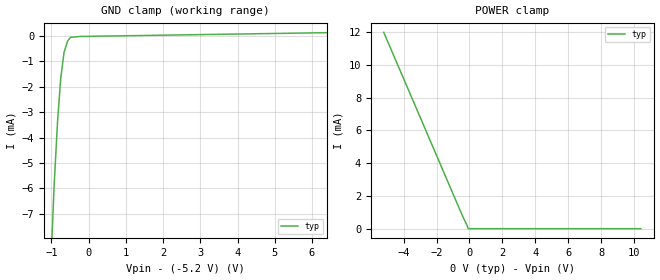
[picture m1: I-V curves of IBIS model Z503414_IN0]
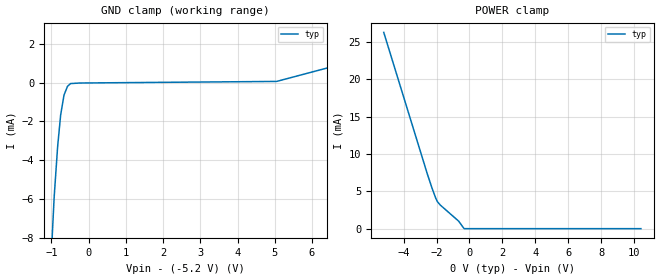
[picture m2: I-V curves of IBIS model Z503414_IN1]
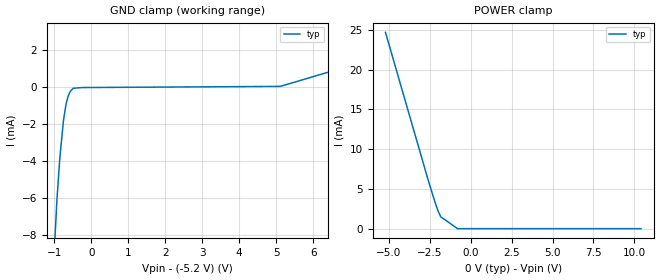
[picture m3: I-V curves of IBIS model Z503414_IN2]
| YOU ARE ONLY AUTHORIZED TO USE THIS SOFTWARE
| ACCORDING TO LICENSOR'S LICENSE RESTRICTIONS.
[IBIS Ver] 3.1
[File Name] mc10e167fn.ibs
[File Rev] 2.0
[Source] Measured and created by ICX Technology
[Date] Friday 7/14/00 9:07:49 AM
[Copyright]
| (C) COPYRIGHT 1993-2000
| MENTOR GRAPHICS CORPORATION
| ICX STANDARD LIBRARY, ICX PROJECT MODELING,
| ICX CUSTOM MODELING, ICX VENDOR MODEL
| ALL RIGHTS RESERVED.
| THE FOLLOWING ARE TRADEMARKS OR SERVICE MARKS OF
| MENTOR GRAPHICS CORPORATION:ICX (R), ICX STANDARD
| LIBRARY(R), ICX PROJECT MODELING(R), ICX CUSTOM
| MODELING(R), qualityIBIS(TM), MODELVIEWER(TM),
| AND MODELEDITOR(TM)
| ALL COPIES OF SOFTWARE, INCLUDING BUT NOT LIMITED TO
| ANY MODIFICATIONS, ENHANCEMENTS OR DERIVATIVE WORKS,
| MUST CONTAIN ALL MENTOR GRAPHICS CORPORATION'S
| NOTICES AND LEGENDS, INCLUDING THOSE EMBEDDED IN
| SOFTWARE AND THOSE AFFIXED TO SOFTWARE MEDIUM
| AND CONTAINER, AS RECEIVED FROM MENTOR GRAPHICS
| CORPORATION.
|  ZAP Model Builder 2.7
[Component] MC10E167FN
[Manufacturer] OnSemiconductor
[Package]
| variable   typ   min   max
R_pkg  .083ohms NA NA
L_pkg  4.299nH NA NA
C_pkg  1.045pF NA NA
[Pin] signal_name  model_name  R_pin  L_pin C_pin
1 VEE POWER .08 3.94n .925p
2 MR Z503414_IN0 .082 4.14n .995p
3 SEL Z503414_IN1 .084 4.354n 1.065p
4 D0A Z503414_IN2 .086 4.583n 1.135p
5 D0B Z503414_IN2 .086 4.583n 1.135p
6 D1A Z503414_IN2 .084 4.354n 1.065p
7 D1B Z503414_IN2 .082 4.14n .995p
8 D2A Z503414_IN2 .08 3.94n .925p
9 D2B Z503414_IN2 .082 4.14n .995p
10 VCCO POWER .084 4.354n 1.065p
11 Q0 Z503414_OUT0 .086 4.583n 1.135p
12 Q1 Z503414_OUT0 .086 4.583n 1.135p
13 VCCO POWER .084 4.354n 1.065p
14 Q2 Z503414_OUT0 .082 4.14n .995p
15 Q3 Z503414_OUT0 .08 3.94n .925p
16 VCC POWER .082 4.14n .995p
17 Q4 Z503414_OUT0 .084 4.354n 1.065p
18 Q5 Z503414_OUT0 .086 4.583n 1.135p
19 VCCO POWER .086 4.583n 1.135p
20 NC NC .084 4.354n 1.065p
21 D3A Z503414_IN2 .082 4.14n .995p
22 D3B Z503414_IN2 .08 3.94n .925p
23 D4A Z503414_IN2 .082 4.14n .995p
24 D4B Z503414_IN2 .084 4.354n 1.065p
25 D5A Z503414_IN2 .086 4.583n 1.135p
26 D5B Z503414_IN2 .086 4.583n 1.135p
27 CLK1 Z503414_IN3 .084 4.354n 1.065p
28 CLK2 Z503414_IN3 .082 4.14n .995p
| Models and submodels in the file (5): Z503414_IN0 (Input_ECL), Z503414_IN1 (Input_ECL), Z503414_IN2 (Input_ECL), Z503414_IN3 (Input_ECL), Z503414_OUT0 (Output_ECL)
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| (C) COPYRIGHT 1993-2000
| MENTOR GRAPHICS CORPORATION
| ICX STANDARD LIBRARY, ICX PROJECT MODELING,
| ICX CUSTOM MODELING, ICX VENDOR MODEL
| ALL RIGHTS RESERVED.
| THE FOLLOWING ARE TRADEMARKS OR SERVICE MARKS OF
| MENTOR GRAPHICS CORPORATION:ICX (R), ICX STANDARD
| LIBRARY(R), ICX PROJECT MODELING(R), ICX CUSTOM
| MODELING(R), qualityIBIS(TM), MODELVIEWER(TM),
| AND MODELEDITOR(TM)
| ALL COPIES OF SOFTWARE, INCLUDING BUT NOT LIMITED TO
| ANY MODIFICATIONS, ENHANCEMENTS OR DERIVATIVE WORKS,
| MUST CONTAIN ALL MENTOR GRAPHICS CORPORATION'S
| NOTICES AND LEGENDS, INCLUDING THOSE EMBEDDED IN
| SOFTWARE AND THOSE AFFIXED TO SOFTWARE MEDIUM
| AND CONTAINER, AS RECEIVED FROM MENTOR GRAPHICS
| CORPORATION.
| Model Application Version 1.89 2/18/99.
[Model] Z503414_IN0
Model_type Input_ECL
Vinl = -1.480V
Vinh = -1.130V
C_comp 4.000pF NA NA
| variable typ   min   max
[Voltage Range] -5.200V NA NA
[GND Clamp Reference] -5.200V NA NA
[POWER Clamp Reference] 0.000V NA NA
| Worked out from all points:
|   GND clamp passes 1 mA (typ) near -0.69 V on its own axis
[GND Clamp]
-5.2V     -208.9mA   NA         NA
-1.09V    -11.63mA   NA         NA
-929mV    -5.896mA   NA         NA
-835mV    -3.337mA   NA         NA
-753mV    -1.687mA   NA         NA
-662mV    -645.4uA   NA         NA
-568mV    -201.8uA   NA         NA
-488mV    -50.44uA   NA         NA
-244mV    -17.12uA   NA         NA
10.4V     223.2uA    NA         NA
[POWER Clamp]
-5.2V     11.99mA    NA         NA
-420mV    773.1uA    NA         NA
-148.9mV  205.8uA    NA         NA
-74.45mV  0A         NA         NA
10.4V     0A         NA         NA
| (C) COPYRIGHT 1993-2000
| MENTOR GRAPHICS CORPORATION
| ICX STANDARD LIBRARY, ICX PROJECT MODELING,
| ICX CUSTOM MODELING, ICX VENDOR MODEL
| ALL RIGHTS RESERVED.
| THE FOLLOWING ARE TRADEMARKS OR SERVICE MARKS OF
| MENTOR GRAPHICS CORPORATION:ICX (R), ICX STANDARD
| LIBRARY(R), ICX PROJECT MODELING(R), ICX CUSTOM
| MODELING(R), qualityIBIS(TM), MODELVIEWER(TM),
| AND MODELEDITOR(TM)
| ALL COPIES OF SOFTWARE, INCLUDING BUT NOT LIMITED TO
| ANY MODIFICATIONS, ENHANCEMENTS OR DERIVATIVE WORKS,
| MUST CONTAIN ALL MENTOR GRAPHICS CORPORATION'S
| NOTICES AND LEGENDS, INCLUDING THOSE EMBEDDED IN
| SOFTWARE AND THOSE AFFIXED TO SOFTWARE MEDIUM
| AND CONTAINER, AS RECEIVED FROM MENTOR GRAPHICS
| CORPORATION.
| Model Application Version 1.89 2/18/99.
[Model] Z503414_IN1
Model_type Input_ECL
Vinl = -1.480V
Vinh = -1.130V
C_comp 4.000pF NA NA
| variable typ   min   max
[Voltage Range] -5.200V NA NA
[GND Clamp Reference] -5.200V NA NA
[POWER Clamp Reference] 0.000V NA NA
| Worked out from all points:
|   GND clamp passes 1 mA (typ) near -0.69 V on its own axis
[GND Clamp]
-5.2V     -240.3mA   NA         NA
-1.086V   -12.08mA   NA         NA
-929mV    -5.951mA   NA         NA
-835mV    -3.313mA   NA         NA
-753mV    -1.659mA   NA         NA
-662mV    -632.9uA   NA         NA
-569mV    -187.1uA   NA         NA
-488mV    -45.88uA   NA         NA
-244mV    -16.55uA   NA         NA
5.049V    65.58uA    NA         NA
10.4V     2.795mA    NA         NA
[POWER Clamp]
-5.2V     26.31mA    NA         NA
-2.555V   7.319mA    NA         NA
-2.275V   5.454mA    NA         NA
-2.051V   4.11mA     NA         NA
-1.934V   3.58mA     NA         NA
-1.763V   3.149mA    NA         NA
-653.3mV  1.002mA    NA         NA
-326.6mV  0A         NA         NA
10.4V     0A         NA         NA
| (C) COPYRIGHT 1993-2000
| MENTOR GRAPHICS CORPORATION
| ICX STANDARD LIBRARY, ICX PROJECT MODELING,
| ICX CUSTOM MODELING, ICX VENDOR MODEL
| ALL RIGHTS RESERVED.
| THE FOLLOWING ARE TRADEMARKS OR SERVICE MARKS OF
| MENTOR GRAPHICS CORPORATION:ICX (R), ICX STANDARD
| LIBRARY(R), ICX PROJECT MODELING(R), ICX CUSTOM
| MODELING(R), qualityIBIS(TM), MODELVIEWER(TM),
| AND MODELEDITOR(TM)
| ALL COPIES OF SOFTWARE, INCLUDING BUT NOT LIMITED TO
| ANY MODIFICATIONS, ENHANCEMENTS OR DERIVATIVE WORKS,
| MUST CONTAIN ALL MENTOR GRAPHICS CORPORATION'S
| NOTICES AND LEGENDS, INCLUDING THOSE EMBEDDED IN
| SOFTWARE AND THOSE AFFIXED TO SOFTWARE MEDIUM
| AND CONTAINER, AS RECEIVED FROM MENTOR GRAPHICS
| CORPORATION.
| Model Application Version 1.89 2/18/99.
[Model] Z503414_IN2
Model_type Input_ECL
Vinl = -1.480V
Vinh = -1.130V
C_comp 4.000pF NA NA
| variable typ   min   max
[Voltage Range] -5.200V NA NA
[GND Clamp Reference] -5.200V NA NA
[POWER Clamp Reference] 0.000V NA NA
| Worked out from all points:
|   GND clamp passes 1 mA (typ) near -0.69 V on its own axis
[GND Clamp]
-5.2V     -242mA     NA         NA
-1.084V   -12.19mA   NA         NA
-928mV    -6.066mA   NA         NA
-850mV    -3.826mA   NA         NA
-752mV    -1.795mA   NA         NA
-679mV    -887.2uA   NA         NA
-625mV    -477.5uA   NA         NA
-568mV    -231.3uA   NA         NA
-488mV    -57.87uA   NA         NA
-244mV    -20.73uA   NA         NA
5.112V    42.8uA     NA         NA
10.4V     3.186mA    NA         NA
[POWER Clamp]
-5.2V     24.67mA    NA         NA
-2.568V   5.92mA     NA         NA
-2.178V   3.342mA    NA         NA
-1.991V   2.221mA    NA         NA
-1.82V    1.468mA    NA         NA
-1.604V   1.175mA    NA         NA
-802mV    0A         NA         NA
10.4V     0A         NA         NA
